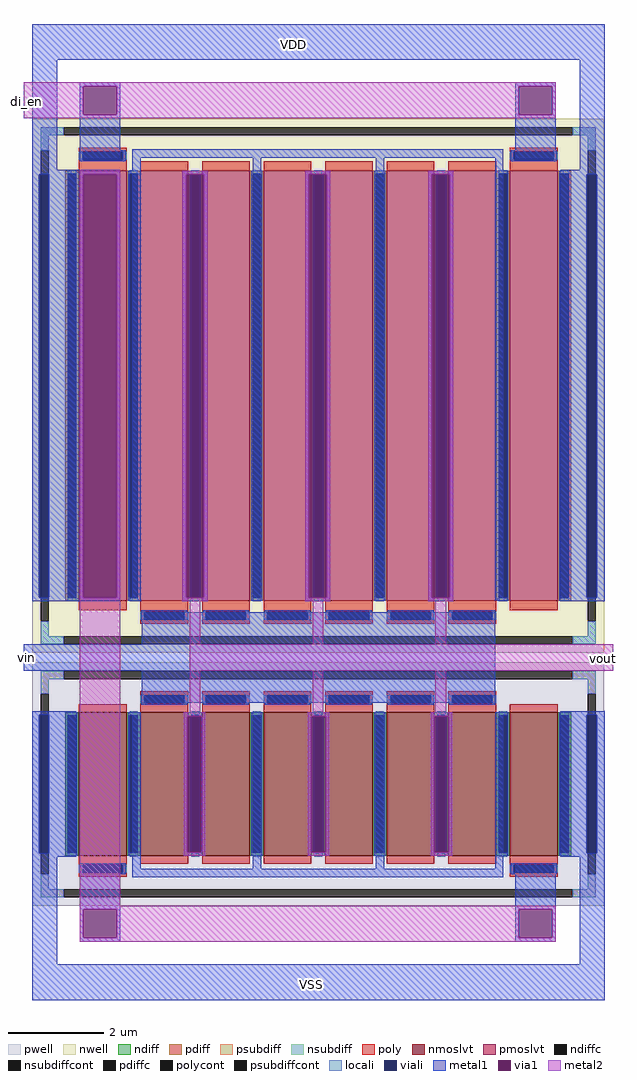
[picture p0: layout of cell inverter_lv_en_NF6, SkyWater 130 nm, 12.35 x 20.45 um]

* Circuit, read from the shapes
.subckt inverter_lv_en_NF6 di_en VSS VDD vin vout
XM1 sky130_fd_pr__nfet_01v8_lvt_WHJEU4_0/S1 VDD VSS VSS sky130_fd_pr__nfet_01v8_lvt w=3 l=1 m=2
XM2 vout vin sky130_fd_pr__nfet_01v8_lvt_WHJEU4_0/S1 VSS sky130_fd_pr__nfet_01v8_lvt w=3 l=1 m=6
XM3 sky130_fd_pr__pfet_01v8_lvt_P4QH36_0/S1 di_en VDD VDD sky130_fd_pr__pfet_01v8_lvt w=9 l=1 m=2
XM4 vout vin sky130_fd_pr__pfet_01v8_lvt_P4QH36_0/S1 VDD sky130_fd_pr__pfet_01v8_lvt w=9 l=1 m=6
.ends

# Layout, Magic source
magic
tech sky130A
magscale 1 2
<< viali >>
rect -100 2290 -60 4065
rect 2195 2290 2235 4065
rect -100 1220 -60 1800
rect 2195 1220 2235 1800
<< metal1 >>
rect -130 4545 2270 4695
rect -130 4085 -25 4545
rect 70 4435 240 4450
rect 70 4315 85 4435
rect 225 4315 240 4435
rect 70 4130 240 4315
rect 1895 4435 2065 4450
rect 1895 4315 1910 4435
rect 2050 4315 2065 4435
rect 290 4135 1845 4170
rect -130 4065 240 4085
rect -130 2290 -100 4065
rect -60 2290 85 4065
rect 225 2290 240 4065
rect -130 2275 240 2290
rect 290 2275 325 4135
rect 500 4065 605 4080
rect 500 2290 515 4065
rect 590 2290 605 4065
rect 500 2275 605 2290
rect 795 2280 830 4135
rect 1015 4065 1120 4080
rect 1015 2290 1030 4065
rect 1105 2290 1120 4065
rect 1015 2275 1120 2290
rect 1310 2280 1345 4135
rect 1530 4065 1635 4080
rect 1530 2290 1545 4065
rect 1620 2290 1635 4065
rect 1530 2275 1635 2290
rect 1810 2280 1845 4135
rect 1895 4130 2065 4315
rect 2165 4085 2270 4545
rect 2085 4065 2270 4085
rect 2085 2290 2195 4065
rect 2235 2290 2270 4065
rect 2085 2275 2270 2290
rect 330 2095 1810 2230
rect -165 1985 1810 2095
rect 330 1850 1810 1985
rect -130 1800 55 1815
rect -130 1220 -100 1800
rect -60 1220 55 1800
rect -130 1205 55 1220
rect -130 755 -25 1205
rect 70 985 240 1170
rect 290 1155 325 1810
rect 505 1795 595 1810
rect 505 1225 520 1795
rect 580 1225 595 1795
rect 505 1210 595 1225
rect 795 1155 830 1810
rect 1025 1795 1115 1810
rect 1025 1225 1040 1795
rect 1100 1225 1115 1795
rect 1025 1210 1115 1225
rect 1310 1155 1345 1810
rect 1540 1795 1630 1810
rect 1540 1225 1555 1795
rect 1615 1225 1630 1795
rect 1540 1210 1630 1225
rect 1810 1155 1845 1810
rect 2085 1800 2270 1815
rect 2085 1220 2195 1800
rect 2235 1220 2270 1800
rect 2085 1205 2270 1220
rect 290 1120 1845 1155
rect 70 865 85 985
rect 225 865 240 985
rect 70 850 240 865
rect 1895 985 2065 1170
rect 1895 865 1910 985
rect 2050 865 2065 985
rect 1895 850 2065 865
rect 2165 755 2270 1205
rect -130 605 2270 755
<< via1 >>
rect 85 4315 225 4435
rect 1910 4315 2050 4435
rect 85 2290 225 4065
rect 515 2290 590 4065
rect 1030 2290 1105 4065
rect 1545 2290 1620 4065
rect 520 1225 580 1795
rect 1040 1225 1100 1795
rect 1555 1225 1615 1795
rect 85 865 225 985
rect 1910 865 2050 985
<< metal2 >>
rect -165 4435 2065 4450
rect -165 4315 85 4435
rect 225 4315 1910 4435
rect 2050 4315 2065 4435
rect -165 4300 2065 4315
rect 70 4065 240 4085
rect 70 2290 85 4065
rect 225 2290 240 4065
rect 70 1000 240 2290
rect 500 4065 605 4080
rect 500 2290 515 4065
rect 590 2290 605 4065
rect 500 2275 605 2290
rect 1015 4065 1120 4080
rect 1015 2290 1030 4065
rect 1105 2290 1120 4065
rect 1015 2275 1120 2290
rect 1530 4065 1635 4080
rect 1530 2290 1545 4065
rect 1620 2290 1635 4065
rect 1530 2275 1635 2290
rect 530 2095 575 2275
rect 1045 2095 1090 2275
rect 1560 2095 1605 2275
rect 530 1985 2305 2095
rect 530 1810 575 1985
rect 1045 1810 1090 1985
rect 1560 1810 1605 1985
rect 505 1795 595 1810
rect 505 1225 520 1795
rect 580 1225 595 1795
rect 505 1210 595 1225
rect 1025 1795 1115 1810
rect 1025 1225 1040 1795
rect 1100 1225 1115 1795
rect 1025 1210 1115 1225
rect 1540 1795 1630 1810
rect 1540 1225 1555 1795
rect 1615 1225 1630 1795
rect 1540 1210 1630 1225
rect 70 985 2065 1000
rect 70 865 85 985
rect 225 865 1910 985
rect 2050 865 2065 985
rect 70 850 2065 865
use sky130_fd_pr__nfet_01v8_lvt_WHJEU4  sky130_fd_pr__nfet_01v8_lvt_WHJEU4_0
transform 1 0 1069 0 1 1510
box -1199 -510 1199 510
use sky130_fd_pr__pfet_01v8_lvt_P4QH36  sky130_fd_pr__pfet_01v8_lvt_P4QH36_0
transform 1 0 1069 0 1 3179
box -1199 -1119 1199 1119
<< labels >>
flabel metal2 -155 4370 -155 4370 0 FreeSans 320 0 0 0 di_en
port 8 nsew
flabel metal1 1040 670 1040 670 0 FreeSans 400 0 0 0 VSS
port 10 nsew
flabel metal1 965 4610 965 4610 0 FreeSans 400 0 0 0 VDD
port 11 nsew
flabel metal1 -155 2040 -155 2040 0 FreeSans 320 0 0 0 vin
port 12 nsew
flabel metal2 2265 2035 2265 2035 0 FreeSans 320 0 0 0 vout
port 13 nsew
<< end >>

# cell sky130_fd_pr__nfet_01v8_lvt_WHJEU4: kit device sky130_fd_pr__nfet_01v8_lvt, w 3 l 1 m 1 nf 8 diffcov 100 polycov 100 guard 1 glc 1 grc 1 gtc 1 gbc 1 tbcov 100 rlcov 100 topc 1 botc 1 poverlap 0 doverlap 1 lmin 0.15 wmin 0.42 class mosfet compatible {sky130_fd_pr__nfet_01v8 sky130_fd_pr__nfet_01v8_lvt sky130_fd_bs_flash__special_sonosfet_star sky130_fd_pr__nfet_g5v0d10v5 sky130_fd_pr__nfet_05v0_nvt sky130_fd_pr__nfet_03v3_nvt} full_metal 1 viasrc 100 viadrn 100 viagate 100 viagb 0 viagr 0 viagl 0 viagt 0 doports 1

# cell sky130_fd_pr__pfet_01v8_lvt_P4QH36: kit device sky130_fd_pr__pfet_01v8_lvt, w 9 l 1 m 1 nf 8 diffcov 100 polycov 100 guard 1 glc 1 grc 1 gtc 1 gbc 1 tbcov 100 rlcov 100 topc 1 botc 1 poverlap 0 doverlap 1 lmin 0.35 wmin 0.42 class mosfet compatible {sky130_fd_pr__pfet_01v8 sky130_fd_pr__pfet_01v8_lvt sky130_fd_pr__pfet_01v8_hvt sky130_fd_pr__pfet_g5v0d10v5} full_metal 1 viasrc 100 viadrn 100 viagate 100 viagb 0 viagr 0 viagl 0 viagt 0 doports 1
